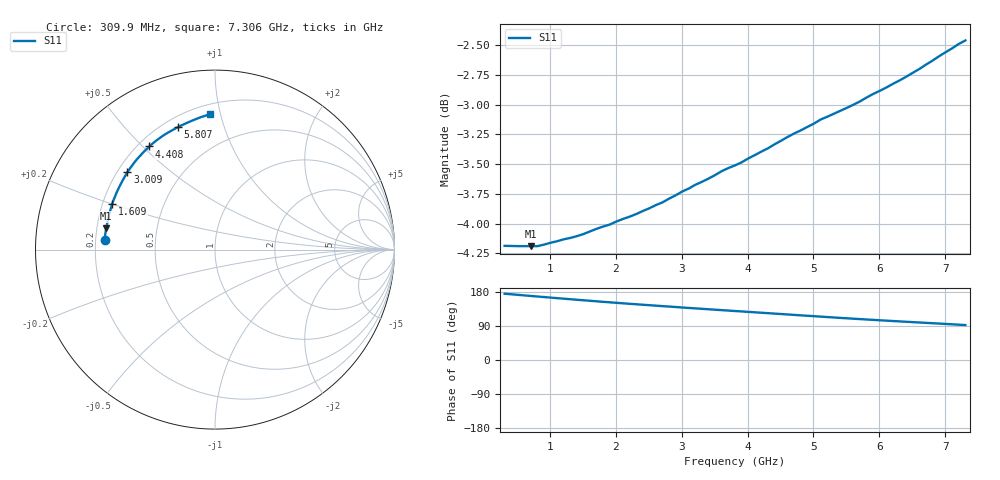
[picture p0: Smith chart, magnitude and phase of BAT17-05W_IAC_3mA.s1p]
! Infineon Technologies  Discrete & RF Semiconductors
! BAT17-05W
! IAC = 3 mA
! One-Port S-Parameters
# Hz  S  MA  R  50
!f  S11
!Hz  Mag  Ang
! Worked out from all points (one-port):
!   71 points, 309.9 MHz to 7.306 GHz, reference 50 ohm
!   lowest |S11| = -4.2 dB at 709.6 MHz (marker M1), VSWR 4.23, Z = 11.9 + j4.54 ohm
!   |S11| at or under -10 dB: nowhere
!   S11 on the Smith chart (normalised r, x): 309.9 MHz: 0.24, +0.04; 1.609 GHz: 0.24, +0.20; 3.009 GHz: 0.24, +0.36; 4.408 GHz: 0.24, +0.52; 5.807 GHz: 0.26, +0.71; 7.306 GHz: 0.27, +0.93
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3.0985e8  0.6176 174.9
5.0975e8  0.6174 171.9
7.0965e8  0.6174 169.0
1.0095e9  0.6194 164.6
1.2094e9  0.6215 161.8
1.6092e9  0.6263 156.2
1.8091e9  0.6293 153.5
2.10895e9  0.6339 149.6
2.4088e9  0.6388 145.8
2.6087e9  0.6425 143.4
2.8086e9  0.6465 141.0
3.0085e9  0.651 138.6
3.2084e9  0.6552 136.2
3.4083e9  0.6591 133.9
3.6082e9  0.6639 131.6
3.8081e9  0.6676 129.3
4.10795e9  0.6742 125.9
4.4078e9  0.6813 122.4
4.70765e9  0.6885 119.0
5.10745e9  0.6978 114.5
5.4073e9  0.7038 111.1
5.6072e9  0.7079 109.0
5.8071e9  0.7129 106.9
6.2069e9  0.7224 102.8
6.50675e9  0.7301 99.9
6.90655e9  0.7419 96.1
7.2064e9  0.7508 93.2
7.30635e9  0.7533 92.2
